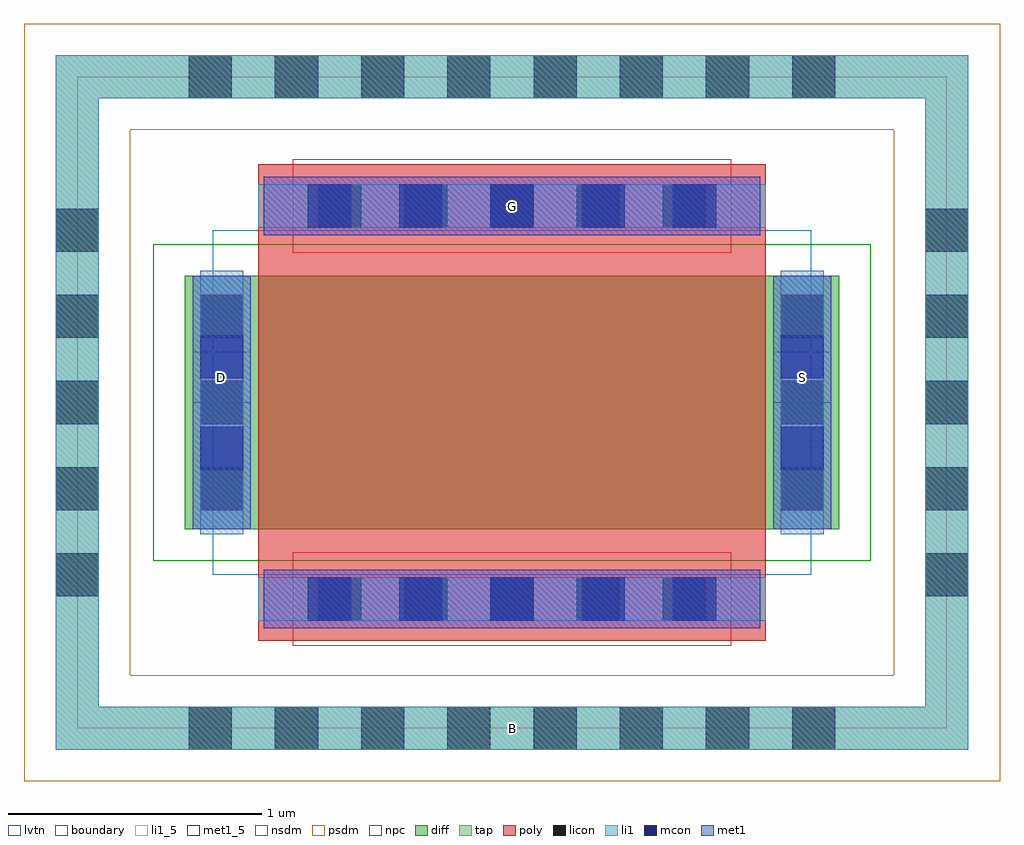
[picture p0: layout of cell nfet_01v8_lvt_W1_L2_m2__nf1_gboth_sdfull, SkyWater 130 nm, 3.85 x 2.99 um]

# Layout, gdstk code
import gdstk
lib = gdstk.Library(unit=1e-6, precision=1e-09)
def R(c, l, rs):  # rectangles x0, y0, x1, y1
    for r in rs: c.add(gdstk.rectangle(r[:2], r[2:], *l))
def A(c, l, x, y, w, h, nx, ny, dx, dy):  # array of equal rectangles
    R(c, l, [(x+i*dx, y+j*dy, x+i*dx+w, y+j*dy+h) for i in range(nx) for j in range(ny)])
diff = (65, 20)
tap = (65, 44)
poly = (66, 20)
licon = (66, 44)
li1_5 = (67, 5)
li1 = (67, 20)
mcon = (67, 44)
met1_5 = (68, 5)
met1 = (68, 20)
nsdm = (93, 44)
psdm = (94, 20)
npc = (95, 20)
lvtn = (125, 44)
boundary = (235, 4)

sky130_fd_pr__nfet_01v8_ = lib.new_cell('sky130_fd_pr__nfet_01v8_lvt_6L95V9')
R(sky130_fd_pr__nfet_01v8_, diff, [(-1.29,-0.5,1.29,0.5)])
R(sky130_fd_pr__nfet_01v8_, tap, [(-1.8,-1.37,1.8,-1.2), (-1.8,-1.2,-1.63,1.2), (1.63,-1.2,1.8,1.2), (-1.8,1.2,1.8,1.37)])
R(sky130_fd_pr__nfet_01v8_, poly, [(-1,-0.94,1,0.94)])
A(sky130_fd_pr__nfet_01v8_, licon, -1.275, -1.37, 0.17, 0.17, 8, 2, 0.34, 2.57)
A(sky130_fd_pr__nfet_01v8_, licon, -0.765, -0.86, 0.17, 0.17, 5, 2, 0.34, 1.55)
A(sky130_fd_pr__nfet_01v8_, licon, -1.8, -0.765, 0.17, 0.17, 1, 5, 0, 0.34)
A(sky130_fd_pr__nfet_01v8_, licon, 1.63, -0.765, 0.17, 0.17, 1, 5, 0, 0.34)
A(sky130_fd_pr__nfet_01v8_, licon, -1.23, -0.425, 0.17, 0.17, 1, 3, 0, 0.34)
A(sky130_fd_pr__nfet_01v8_, licon, 1.06, -0.425, 0.17, 0.17, 1, 3, 0, 0.34)
R(sky130_fd_pr__nfet_01v8_, li1, [(-1.8,-1.37,1.8,-1.2), (-1.8,-1.2,-1.63,1.2), (1.63,-1.2,1.8,1.2), (-1,-0.86,1,-0.69), (-1.23,-0.52,-1.06,0.52), (1.06,-0.52,1.23,0.52), (-1,0.69,1,0.86), (-1.8,1.2,1.8,1.37)])
A(sky130_fd_pr__nfet_01v8_, mcon, -0.805, -0.86, 0.17, 0.17, 5, 2, 0.36, 1.55)
R(sky130_fd_pr__nfet_01v8_, mcon, [(-1.23,-0.265,-1.06,-0.095), (1.06,-0.265,1.23,-0.095), (-1.23,0.095,-1.06,0.265), (1.06,0.095,1.23,0.265)])
R(sky130_fd_pr__nfet_01v8_, met1, [(-0.98,-0.89,0.98,-0.66), (-1.26,-0.5,-1.03,0.5), (1.03,-0.5,1.26,0.5), (-0.98,0.66,0.98,0.89)])
R(sky130_fd_pr__nfet_01v8_, nsdm, [(-1.415,-0.625,1.415,0.625)])
R(sky130_fd_pr__nfet_01v8_, psdm, [(-1.925,-1.495,1.925,-1.075), (-1.925,-1.075,-1.505,1.075), (1.505,-1.075,1.925,1.075), (-1.925,1.075,1.925,1.495)])
R(sky130_fd_pr__nfet_01v8_, npc, [(-0.865,-0.96,0.865,-0.59), (-0.865,0.59,0.865,0.96)])
R(sky130_fd_pr__nfet_01v8_, lvtn, [(-1.18,-0.68,1.18,0.68)])
R(sky130_fd_pr__nfet_01v8_, boundary, [(-1.715,-1.285,1.715,1.285)])
sky130_fd_pr__nfet_01v8_.add(gdstk.Label('B', (0,-1.285), layer=67, texttype=5))
sky130_fd_pr__nfet_01v8_.add(gdstk.Label('D', (-1.145,0), layer=67, texttype=5))
sky130_fd_pr__nfet_01v8_.add(gdstk.Label('S', (1.145,0), layer=67, texttype=5))
sky130_fd_pr__nfet_01v8_.add(gdstk.Label('G', (0,0.775), layer=67, texttype=5))

nfet_01v8_lvt_w1_l2_m2__ = lib.new_cell('nfet_01v8_lvt_W1_L2_m2__nf1_gboth_sdfull')
R(nfet_01v8_lvt_w1_l2_m2__, li1_5, [(1.63,-0.085,1.8,0.085)])
R(nfet_01v8_lvt_w1_l2_m2__, li1, [(1.63,-0.085,1.8,0.085)])
R(nfet_01v8_lvt_w1_l2_m2__, met1_5, [(0.455,1.285,0.685,1.485), (2.745,1.285,2.975,1.485), (0.735,1.945,2.695,2.175)])
R(nfet_01v8_lvt_w1_l2_m2__, met1, [(0.455,1.285,0.685,1.485), (2.745,1.285,2.975,1.485), (0.735,1.945,2.695,2.175)])
nfet_01v8_lvt_w1_l2_m2__.add(gdstk.Reference(sky130_fd_pr__nfet_01v8_, (1.715,1.285)))
nfet_01v8_lvt_w1_l2_m2__.add(gdstk.Label('D', (0.57,1.385), layer=68, texttype=5))
nfet_01v8_lvt_w1_l2_m2__.add(gdstk.Label('S', (2.86,1.385), layer=68, texttype=5))
nfet_01v8_lvt_w1_l2_m2__.add(gdstk.Label('G', (1.715,2.06), layer=68, texttype=5))
nfet_01v8_lvt_w1_l2_m2__.add(gdstk.Label('B', (1.715,0), layer=67, texttype=5))

lib.write_gds('nfet_01v8_lvt_W1_L2_m2__nf1_gboth_sdfull.gds')
